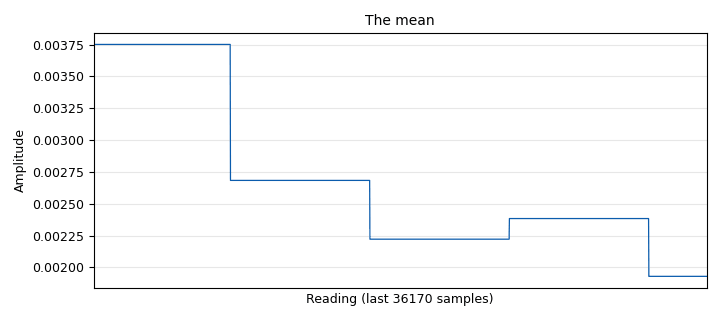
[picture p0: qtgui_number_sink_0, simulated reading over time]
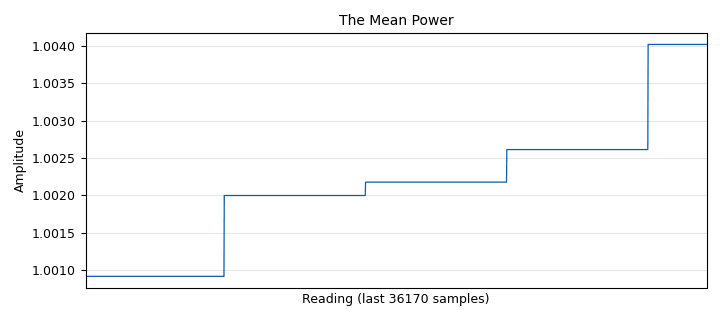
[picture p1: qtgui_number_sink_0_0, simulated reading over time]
<?xml version='1.0' encoding='utf-8'?>
<?grc format='1' created='3.7.13'?>
<flow_graph>
<block>
<key>options</key>
<param><key>id</key><value>top_block</value></param>
<param><key>generate_options</key><value>qt_gui</value></param>
</block>
<block>
<key>variable</key>
<param><key>id</key><value>samp_rate</value></param>
<param><key>value</key><value>32000</value></param>
</block>
<block>
<key>analog_noise_source_x</key>
<param><key>id</key><value>analog_noise_source_x_0</value></param>
<param><key>amp</key><value>1</value></param>
<param><key>noise_type</key><value>analog.GR_GAUSSIAN</value></param>
<param><key>type</key><value>float</value></param>
<param><key>seed</key><value>0</value></param>
</block>
<block>
<key>blocks_multiply_xx</key>
<param><key>id</key><value>blocks_multiply_xx_0</value></param>
<param><key>type</key><value>float</value></param>
</block>
<block>
<key>epy_block</key>
<param><key>id</key><value>epy_block_0</value></param>
<param><key>_source_code</key><value>import numpy as np
from gnuradio import gr

class mean_meter(gr.sync_block):
    """Descripcion del bloque """
    def __init__(self):
        gr.sync_block.__init__(self,
            name="e_mean_meter_ff",
            in_sig=[np.float32],
            out_sig=[np.float32])

        # variables externas
	self.contador = 0
	self.acum=0
    def work(self, input_items, output_items):
        # traduccion a algo que podemos manejar mejor
        in0 = input_items[0]
        out0 = output_items[0]
        # Logica principal
	self.contador += len(in0)
	self.acum += np.sum(in0)
	out0[:] = self.acum/self.contador
        return len(output_items[0])

</value></param>
</block>
<block>
<key>epy_block</key>
<param><key>id</key><value>epy_block_0_0</value></param>
<param><key>_source_code</key><value>import numpy as np
from gnuradio import gr

class mean_meter(gr.sync_block):
    """Descripcion del bloque """
    def __init__(self):
        gr.sync_block.__init__(self,
            name="e_mean_meter_ff",
            in_sig=[np.float32],
            out_sig=[np.float32])

        # variables externas
	self.contador = 0
	self.acum=0
    def work(self, input_items, output_items):
        # traduccion a algo que podemos manejar mejor
        in0 = input_items[0]
        out0 = output_items[0]
        # Logica principal
	self.contador += len(in0)
	self.acum += np.sum(in0)
	out0[:] = self.acum/self.contador
#	out0 = self.acum/self.contador
#       print("out",out0)
        return len(output_items[0])

</value></param>
</block>
<block>
<key>qtgui_number_sink</key>
<param><key>id</key><value>qtgui_number_sink_0</value></param>
<param><key>graph_type</key><value>qtgui.NUM_GRAPH_HORIZ</value></param>
<param><key>type</key><value>float</value></param>
<param><key>name</key><value>"The mean"</value></param>
</block>
<block>
<key>qtgui_number_sink</key>
<param><key>id</key><value>qtgui_number_sink_0_0</value></param>
<param><key>graph_type</key><value>qtgui.NUM_GRAPH_HORIZ</value></param>
<param><key>type</key><value>float</value></param>
<param><key>name</key><value>"The Mean Power"</value></param>
</block>
<connection><source_block_id>analog_noise_source_x_0</source_block_id><sink_block_id>blocks_multiply_xx_0</sink_block_id><source_key>0</source_key><sink_key>0</sink_key></connection>
<connection><source_block_id>analog_noise_source_x_0</source_block_id><sink_block_id>blocks_multiply_xx_0</sink_block_id><source_key>0</source_key><sink_key>1</sink_key></connection>
<connection><source_block_id>analog_noise_source_x_0</source_block_id><sink_block_id>epy_block_0_0</sink_block_id><source_key>0</source_key><sink_key>0</sink_key></connection>
<connection><source_block_id>blocks_multiply_xx_0</source_block_id><sink_block_id>epy_block_0</sink_block_id><source_key>0</source_key><sink_key>0</sink_key></connection>
<connection><source_block_id>epy_block_0</source_block_id><sink_block_id>qtgui_number_sink_0_0</sink_block_id><source_key>0</source_key><sink_key>0</sink_key></connection>
<connection><source_block_id>epy_block_0_0</source_block_id><sink_block_id>qtgui_number_sink_0</sink_block_id><source_key>0</source_key><sink_key>0</sink_key></connection>
</flow_graph>
